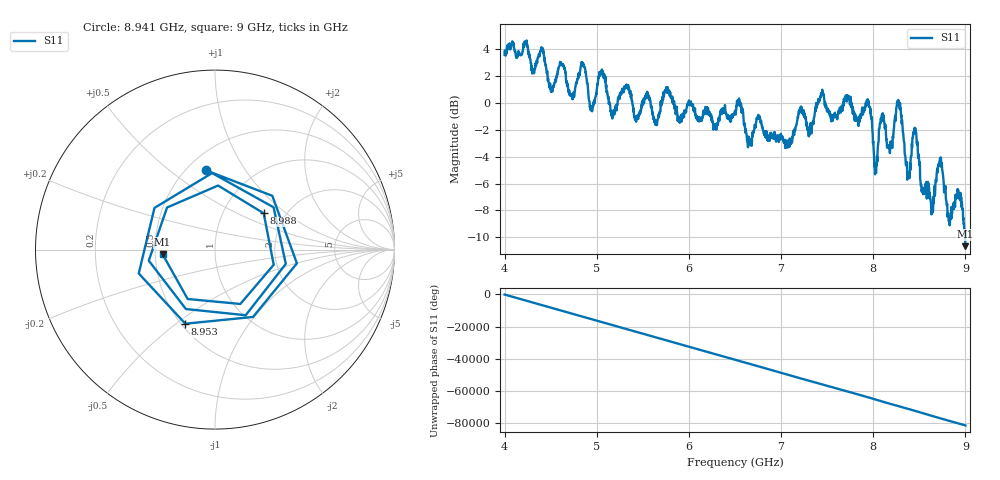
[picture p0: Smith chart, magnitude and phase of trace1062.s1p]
! Created with skrf 1.8.0 (http://scikit-rf.org).
# Hz S RI R 50.0
!freq ReS11 ImS11
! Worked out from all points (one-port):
!   1601 points, 4 GHz to 9 GHz, reference 50 ohm
!   lowest |S11| = -10.7 dB at 9 GHz (marker M1), VSWR 1.83, Z = 27.4 - j1.52 ohm
!   |S11| at or under -10 dB: 8.996727 GHz to end of sweep
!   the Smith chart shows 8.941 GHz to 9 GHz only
!   S11 on the Smith chart (normalised r, x): 8.941 GHz: 0.62, +0.68; 8.953 GHz: 0.52, -0.54; 8.988 GHz: 1.55, +0.71; 9 GHz: 0.55, -0.03
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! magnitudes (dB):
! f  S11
! 4 GHz  3.6
! 4.403 GHz  4.0
! 4.509 GHz  0.9
! 4.625 GHz  2.9
! 4.731 GHz  0.6
! 4.853 GHz  2.7
! 4.944 GHz  -0.6
! 5.044 GHz  2.3
! 5.172 GHz  -0.9
! 5.25 GHz  0.5
! 5.875 GHz  -0.9
! 6.5 GHz  -0.6
! 7.125 GHz  -2.5
! 7.75 GHz  0.2
! 7.95 GHz  -0.1
! 8.028 GHz  -5.0
! 8.088 GHz  -1.4
! 8.184 GHz  -3.1
! 8.275 GHz  -0.2
! 8.375 GHz  -5.5
! 8.45 GHz  -1.9
! 8.634 GHz  -8.1
! 8.725 GHz  -4.1
! 8.831 GHz  -9.1
! 8.941 GHz  -7.1
! 8.953 GHz  -7.0
! 8.988 GHz  -9.4
! 9 GHz  -10.7
